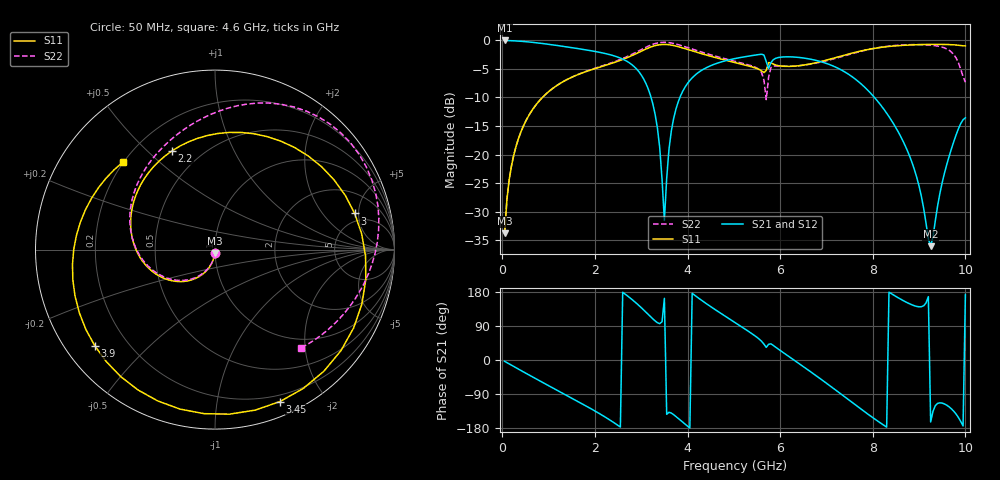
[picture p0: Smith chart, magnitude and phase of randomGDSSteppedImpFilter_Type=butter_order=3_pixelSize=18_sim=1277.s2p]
! freq	dB(S11)	phase(S11)	dB(S12)	phase(S12)
!  dB(S21)	phase(S21)	dB(S22)	phase(S22)
!S-par simulation data
#  GHz  S  DB  R 50
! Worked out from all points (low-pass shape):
!   200 points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, 50 MHz to 10 GHz, reference 50 ohm
!   highest |S21| = -0.01 dB at 50 MHz (marker M1); lowest = -36.1 dB at 9.25 GHz (marker M2)
!   |S21| within 3 dB of the highest: start of sweep to 2.521 GHz; 5.134 GHz to 5.67 GHz (535.7 MHz wide, 9.92 % of centre) (the widest 2 of 3)
!   lowest |S11| = -33.8 dB at 50 MHz (marker M3), VSWR 1.04, Z = 49.8 - j2.03 ohm
!   |S11| at or under -10 dB: start of sweep to 866.4 MHz
!   |S22| runs from -33.8 to -0.3 dB; largest |S21 - S12| = 0
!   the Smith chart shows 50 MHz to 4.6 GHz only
!   S11 on the Smith chart (normalised r, x): 50 MHz: 1.00, -0.04; 2.2 GHz: 0.35, +0.60; 3 GHz: 3.94, +4.49; 3.45 GHz: 0.14, -1.51; 3.9 GHz: 0.09, -0.35; 4.6 GHz: 0.20, +0.39
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0.05  -33.82 -93.3  -0.01 -3.5  -0.01 -3.5  -33.82 -93.5
0.2  -21.91 -103.7  -0.05 -13.9  -0.05 -13.9  -21.91 -104.4
0.5  -14.25 -124.0  -0.22 -34.3  -0.22 -34.3  -14.25 -125.6
1.75  -5.63 150.5  -1.58 -117.3  -1.58 -117.3  -5.59 153.6
2.2  -4.44 113.4  -2.26 -149.0  -2.26 -149.0  -4.35 127.1
2.65  -3.18 65.2  -3.48 174.2  -3.48 174.2  -3.00 100.8
3  -1.90 14.5  -6.05 138.2  -6.05 138.2  -1.61 77.4
3.4  -0.76 -57.5  -18.83 95.9  -18.83 95.9  -0.39 42.8
3.45  -0.72 -66.8  -24.39 101.1  -24.39 101.1  -0.34 38.0
3.5  -0.71 -76.0  -31.55 162.7  -31.55 162.7  -0.33 33.3
3.65  -0.82 -102.4  -15.88 -140.1  -15.88 -140.1  -0.45 19.5
3.9  -1.33 -141.3  -8.85 -164.5  -8.85 -164.5  -0.99 -1.3
4.6  -3.00 136.5  -4.11 132.6  -4.11 132.6  -2.75 -48.6
5.05  -3.93 91.7  -3.14 96.9  -3.14 96.9  -3.72 -75.5
5.7  -5.23 37.7  -3.71 33.3  -3.71 33.3  -10.37 -108.3
5.85  -4.14 12.0  -3.39 38.6  -3.39 38.6  -4.51 -106.6
6.7  -4.04 -77.1  -3.36 -34.7  -3.36 -34.7  -4.09 -173.4
7.65  -2.03 -162.9  -6.95 -120.8  -6.95 -120.8  -2.11 93.7
8.35  -1.06 140.0  -13.35 179.0  -13.35 179.0  -1.00 25.0
9.25  -0.70 76.3  -36.06 -163.7  -36.06 -163.7  -0.83 -48.6
9.7  -0.75 48.2  -18.96 -129.1  -18.96 -129.1  -2.05 -101.4
10  -0.97 31.9  -13.57 172.9  -13.57 172.9  -7.33 137.9
